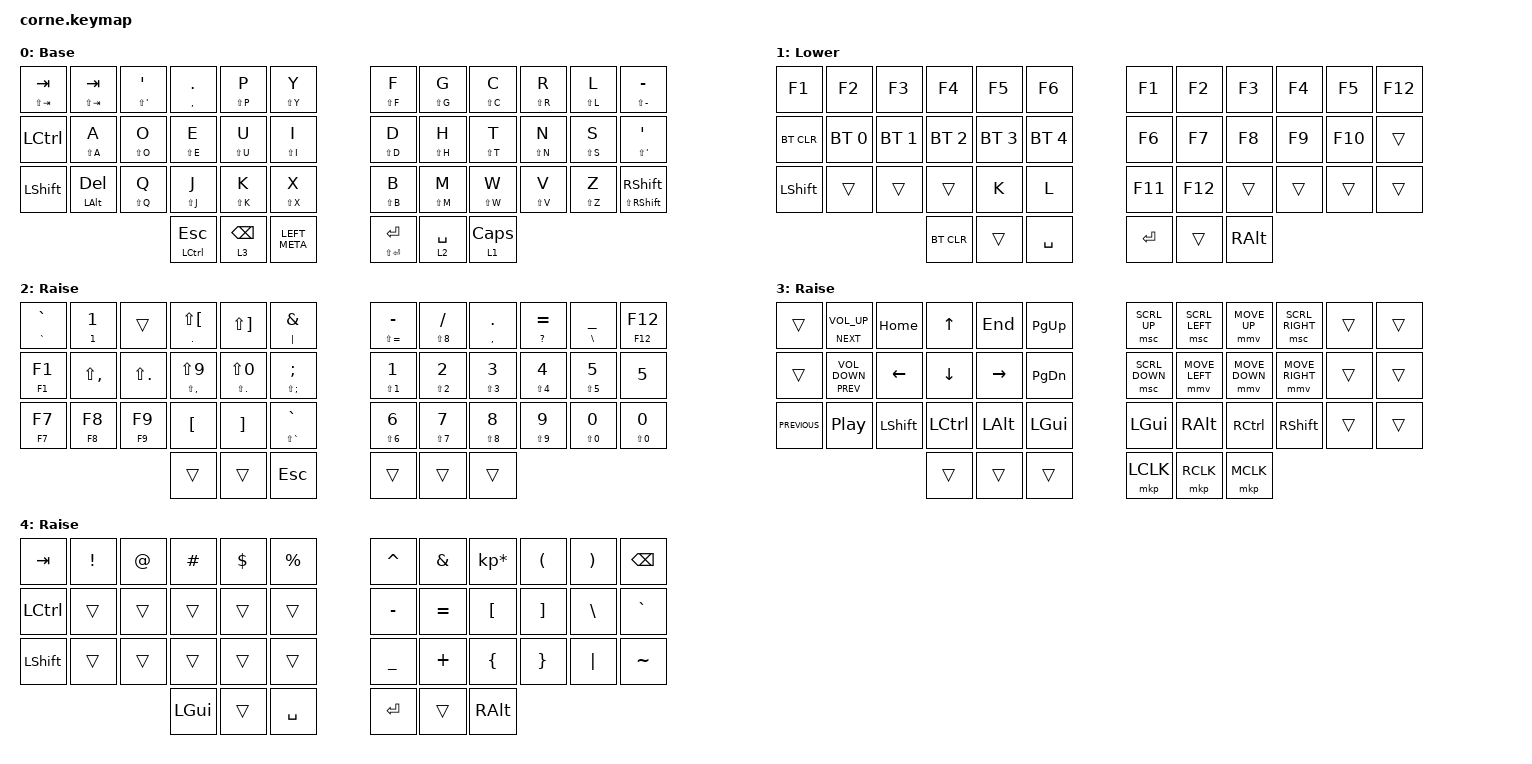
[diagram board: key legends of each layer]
/*
 * Copyright (c) 2020 The ZMK Contributors
 *
 * SPDX-License-Identifier: MIT
 */

#include <behaviors.dtsi>
#include <dt-bindings/zmk/bt.h>
#include <dt-bindings/zmk/keys.h>
#include <dt-bindings/zmk/pointing.h>

/ {
    behaviors {
        aA: aA {
            compatible = "zmk,behavior-hold-tap";
            label = "AA";
            bindings = <&kp>, <&kp>;

            #binding-cells = <2>;
            tapping-term-ms = <160>;
            hold-trigger-key-positions = <0 1 2 3 4 5 16 17 28 29 12 13 24 25 26 27 13 14 15 6 7 8 9 10 18 19 20 21 22 30 31 32 33 34 44 45 46 47 48 0 1 2 3 4 5 12 13 14 15 16 17 24 25 26 27 28 29 36 37 38 39 40 41>;
            quick-tap-ms = <350>;
            flavor = "tap-preferred";
        };

        aLayer: aLayer {
            compatible = "zmk,behavior-hold-tap";
            label = "ALAYER";
            bindings = <&mo>, <&kp>;

            #binding-cells = <2>;
            tapping-term-ms = <160>;
            flavor = "balanced";
            hold-trigger-key-positions = <6 7 8 9 10 18 19 20 21 22 30 31 32 33 34 44 45 46 47 48 55 56 57 1 5 13 14 15 16 17 25 26 27 28 29 2 3 4>;
        };
    };

    keymap {
        compatible = "zmk,keymap";

        default_layer {
            // -----------------------------------------------------------------------------------------
            // |  TAB |  Q  |  W  |  E  |  R  |  T  |   |  Y  |  U   |  I  |  O  |  P  | BKSP |
            // | CTRL |  A  |  S  |  D  |  F  |  G  |   |  H  |  J   |  K  |  L  |  ;  |  '   |
            // | SHFT |  Z  |  X  |  C  |  V  |  B  |   |  N  |  M   |  ,  |  .  |  /  | ESC  |
            //                    | GUI | LWR | SPC |   | ENT | RSE  | ALT |

            display-name = "Base";
            bindings = <
&aA LS(TAB) TAB  &aA LS(TAB) TAB   &aA LS(APOS) APOS  &aA COMMA DOT  &aA LS(P) P          &aA LS(Y) Y      &aA LS(F) F          &aA LS(G) G      &aA LS(C) C         &aA LS(R) R  &aA LS(L) L  &aA LS(MINUS) MINUS
&kp LCTRL        &aA LS(A) A       &aA LS(O) O        &aA LS(E) E    &aA LS(U) U          &aA LS(I) I      &aA LS(D) D          &aA LS(H) H      &aA LS(T) T         &aA LS(N) N  &aA LS(S) S  &aA LS(SQT) SQT
&kp LSHFT        &aA LEFT_ALT DEL  &aA LS(Q) Q        &aA LS(J) J    &aA LS(K) K          &aA LS(X) X      &aA LS(B) B          &aA LS(M) M      &aA LS(W) W         &aA LS(V) V  &aA LS(Z) Z  &aA LS(RSHFT) RSHFT
                                                      &aA LCTRL ESC  &aLayer 3 BACKSPACE  &kp LEFT_META    &aA LS(ENTER) ENTER  &aLayer 2 SPACE  &aLayer 1 CAPSLOCK
            >;
        };

        lower_layer {
            // -----------------------------------------------------------------------------------------
            // |  TAB |  1  |  2  |  3  |  4  |  5  |   |  6  |  7  |  8  |  9  |  0  | BKSP |
            // | BTCLR| BT1 | BT2 | BT3 | BT4 | BT5 |   | LFT | DWN |  UP | RGT |     |      |
            // | SHFT |     |     |     |     |     |   |     |     |     |     |     |      |
            //                    | GUI |     | SPC |   | ENT |     | ALT |

            display-name = "Lower";
            bindings = <
&kp F1      &kp F2        &kp F3        &kp F4        &kp F5        &kp F6          &kp F1   &kp F2   &kp F3    &kp F4  &kp F5   &kp F12
&bt BT_CLR  &bt BT_SEL 0  &bt BT_SEL 1  &bt BT_SEL 2  &bt BT_SEL 3  &bt BT_SEL 4    &kp F6   &kp F7   &kp F8    &kp F9  &kp F10  &trans
&kp LSHFT   &trans        &trans        &trans        &kp K         &kp L           &kp F11  &kp F12  &trans    &trans  &trans   &trans
                                        &bt BT_CLR    &trans        &kp SPACE       &kp RET  &trans   &kp RALT
            >;
        };

        sym {
            // -----------------------------------------------------------------------------------------
            // |  TAB |  !  |  @  |  #  |  $  |  %  |   |  ^  |  &  |  *  |  (  |  )  | BKSP |
            // | CTRL |     |     |     |     |     |   |  -  |  =  |  [  |  ]  |  \  |  `   |
            // | SHFT |     |     |     |     |     |   |  _  |  +  |  {  |  }  | "|" |  ~   |
            //                    | GUI |     | SPC |   | ENT |     | ALT |

            display-name = "Raise";
            bindings = <
&aA GRAVE GRAVE  &aA N1 N1      &trans       &aA DOT LS(LBKT)      &kp LS(RBKT)        &aA PIPE AMPS          &aA LS(EQUAL) MINUS  &aA LS(N8) SLASH  &aA COMMA DOT  &aA QUESTION EQUAL  &aA BSLH UNDER  &aA F12 F12
&aA F1 F1        &kp LS(COMMA)  &kp LS(DOT)  &aA LS(COMMA) LS(N9)  &aA LS(DOT) LS(N0)  &aA LS(SEMI) SEMI      &aA LS(N1) N1        &aA LS(N2) N2     &aA LS(N3) N3  &aA LS(N4) N4       &aA LS(N5) N5   &kp N5
&aA F7 F7        &aA F8 F8      &aA F9 F9    &kp LBKT              &kp RBKT            &aA LS(GRAVE) GRAVE    &aA LS(N6) N6        &aA LS(N7) N7     &aA LS(N8) N8  &aA LS(N9) N9       &aA LS(N0) N0   &aA LS(N0) N0
                                             &trans                &trans              &kp ESC                &trans               &trans            &trans
            >;
        };

        nav {
            // -----------------------------------------------------------------------------------------
            // |  TAB |  !  |  @  |  #  |  $  |  %  |   |  ^  |  &  |  *  |  (  |  )  | BKSP |
            // | CTRL |     |     |     |     |     |   |  -  |  =  |  [  |  ]  |  \  |  `   |
            // | SHFT |     |     |     |     |     |   |  _  |  +  |  {  |  }  | "|" |  ~   |
            //                    | GUI |     | SPC |   | ENT |     | ALT |

            display-name = "Raise";
            bindings = <
&trans          &aA C_NEXT C_VOLUME_UP    &kp HOME        &kp UP_ARROW    &kp END          &kp PAGE_UP      &msc SCRL_UP    &msc SCRL_LEFT  &mmv MOVE_UP    &msc SCRL_RIGHT  &trans  &trans
&trans          &aA C_PREV C_VOLUME_DOWN  &kp LEFT_ARROW  &kp DOWN_ARROW  &kp RIGHT_ARROW  &kp PAGE_DOWN    &msc SCRL_DOWN  &mmv MOVE_LEFT  &mmv MOVE_DOWN  &mmv MOVE_RIGHT  &trans  &trans
&kp C_PREVIOUS  &kp C_PLAY_PAUSE          &kp LSHIFT      &kp LCTRL       &kp LEFT_ALT     &kp LGUI         &kp LEFT_GUI    &kp RALT        &kp RCTRL       &kp RSHFT        &trans  &trans
                                                          &trans          &trans           &trans           &mkp LCLK       &mkp RCLK       &mkp MCLK
            >;
        };

        raise_layer3 {
            // -----------------------------------------------------------------------------------------
            // |  TAB |  !  |  @  |  #  |  $  |  %  |   |  ^  |  &  |  *  |  (  |  )  | BKSP |
            // | CTRL |     |     |     |     |     |   |  -  |  =  |  [  |  ]  |  \  |  `   |
            // | SHFT |     |     |     |     |     |   |  _  |  +  |  {  |  }  | "|" |  ~   |
            //                    | GUI |     | SPC |   | ENT |     | ALT |

            display-name = "Raise";
            bindings = <
&kp TAB    &kp EXCL  &kp AT  &kp HASH  &kp DLLR  &kp PRCNT    &kp CARET  &kp AMPS   &kp KP_MULTIPLY  &kp LPAR  &kp RPAR  &kp BSPC
&kp LCTRL  &trans    &trans  &trans    &trans    &trans       &kp MINUS  &kp EQUAL  &kp LBKT         &kp RBKT  &kp BSLH  &kp GRAVE
&kp LSHFT  &trans    &trans  &trans    &trans    &trans       &kp UNDER  &kp PLUS   &kp LBRC         &kp RBRC  &kp PIPE  &kp TILDE
                             &kp LGUI  &trans    &kp SPACE    &kp RET    &trans     &kp RALT
            >;
        };
    };
};
